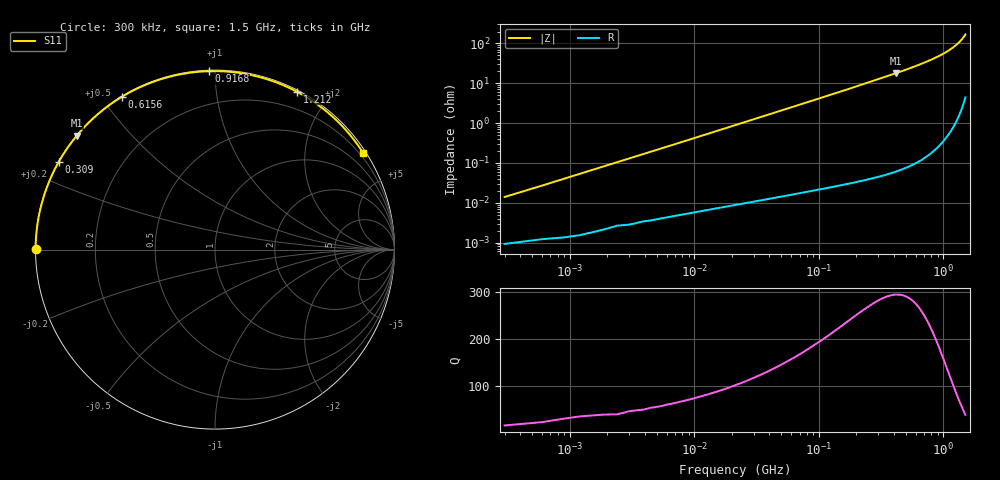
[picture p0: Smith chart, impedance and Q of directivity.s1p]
! Created with skrf 1.8.0 (http://scikit-rf.org).
# Hz S RI R 50.0
!freq ReS11 ImS11
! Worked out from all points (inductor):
!   5000 points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, 300 kHz to 1.5 GHz, reference 50 ohm
!   read as one part to ground: L = 6.7 nH near 7.8 MHz
!   highest Q = 295 at 416.7 MHz (marker M1), where L = 6.87 nH
!   S11 on the Smith chart (normalised r, x): 300 kHz: 0.00, +0.00; 309 MHz: 0.00, +0.26; 615.6 MHz: 0.00, +0.56; 916.8 MHz: 0.01, +0.96; 1.212 GHz: 0.02, +1.64; 1.5 GHz: 0.09, +3.37
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300000  -1 0.000558
4.77e7  -0.9963 0.0793
9.42e7  -0.987 0.1555
1.41e8  -0.9718 0.2313
1.878e8  -0.9509 0.3056
2.481e8  -0.9155 0.3987
3.09e8  -0.8705 0.4887
3.753e8  -0.8114 0.5812
4.167e8  -0.7693 0.6355
4.914e8  -0.6842 0.7259
5.628e8  -0.5926 0.802
6.156e8  -0.5191 0.851
6.837e8  -0.418 0.9045
7.503e8  -0.3134 0.9454
8.34e8  -0.1758 0.9797
9.168e8  -0.0354 0.9939
9.378e8  0.000536 0.9944
9.846e8  0.0808 0.9906
1.0314e9  0.1607 0.9803
1.0782e9  0.2398 0.9634
1.1253e9  0.3181 0.9398
1.2117e9  0.4561 0.8797
1.2618e9  0.5318 0.8352
1.3128e9  0.6047 0.7829
1.3626e9  0.6713 0.7255
1.4133e9  0.7337 0.6609
1.4655e9  0.7917 0.5884
1.5e9  0.8263 0.5375
